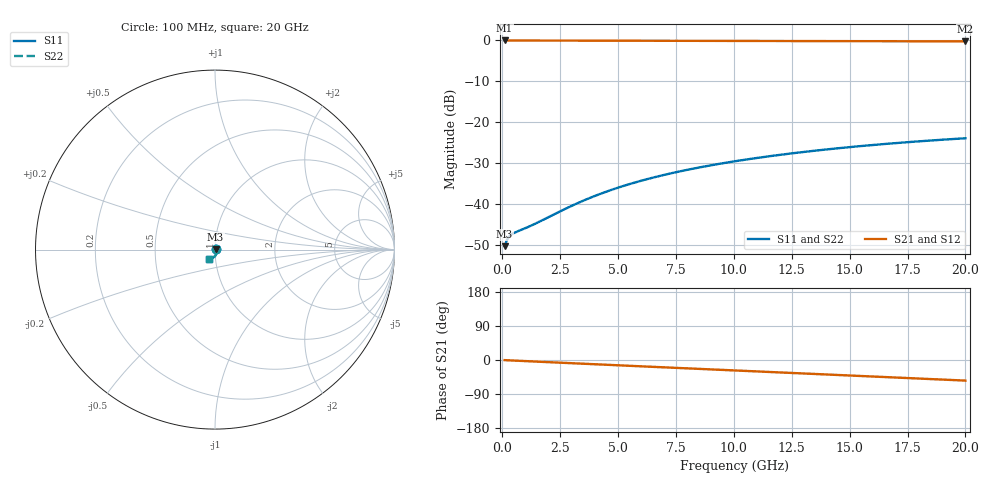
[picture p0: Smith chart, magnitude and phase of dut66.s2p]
! Touchstone file exported from HFSS 2026.1.0
!  File:  C:/ffzhzh/LocalFiles/Ansys_Project_Files/temp_train_BSMRDL_66_1782882780_8056.aedt
!  Generated:  01:14:26 PM Jul  1, 2026
!  Design:  BSMRDL
!  Project:  temp_train_BSMRDL_66_1782882780_8056
! Variables:
!  h_bsmrdl = 5.69um
!  h_ox = 20um
!  h_rdl = 5um
!  h_sub = 80um
!  h_tmrdl = 5um
!  h_tsv = 80um
!  h_via = 3um
!  l_bsmrdl = 984.99um
!  l_sub = 1384.99um
!  l_tmrdl = 200um
!  m_sub = 200um
!  pitch = 28.84um
!  r_tsv = 6um
!  s_tmrdl = 10um
!  w_bsmrdl = 24.05um
!  w_sub = 500um
!  w_tmrdl = 12um
!  x_tsv_center1 = 206um
!  x_tsv_center2 = 1215.04um
!  x_tsv_center3 = 1427.04um
!  x_tsv_center4 = 2436.08um
!  x_tsv_center5 = 2648.08um
!  x_tsv_center6 = 3657.12um
# GHz S MA R 50.000000
! Terminal data exported
! Port[1] = BSM_RDL1_1_T1
! Port[2] = BSM_RDL1_1_T2
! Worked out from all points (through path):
!   200 points, 100 MHz to 20 GHz, reference 50 ohm
!   highest |S21| = -0.03 dB at 100 MHz (marker M1); lowest = -0.2 dB at 20 GHz (marker M2)
!   group delay of S21, straight-line fit = 7.51 ps
!   lowest |S11| = -50.3 dB at 100 MHz (marker M3), VSWR 1.01, Z = 50.3 + j0.0653 ohm
!   |S11| at or under -10 dB: start of sweep to end of sweep
!   |S22| runs from -50.3 to -23.9 dB; largest |S21 - S12| = 8e-14
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0.1  0.003045 12.3  0.997 -0.3  0.997 -0.3  0.003045 12.3
! Gamma 0 0 0 0
! Port Impedance 50 0 50 0
0.2  0.003634 12.3  0.9965 -0.6  0.9965 -0.6  0.003634 12.3
0.3  0.004009 8.9  0.996 -0.9  0.996 -0.9  0.004009 8.9
0.4  0.004241 5.5  0.9958 -1.2  0.9958 -1.2  0.004241 5.5
0.5  0.004406 2.5  0.9956 -1.5  0.9956 -1.5  0.004406 2.5
1.3  0.005519 -13.3  0.9945 -3.7  0.9945 -3.7  0.005519 -13.3
2.7  0.008652 -33.0  0.9921 -7.7  0.9921 -7.7  0.008652 -33.0
3.5  0.01097 -42.3  0.9907 -9.9  0.9907 -9.9  0.01097 -42.3
4.2  0.01317 -49.4  0.9894 -11.8  0.9894 -11.8  0.01317 -49.3
5  0.01582 -56.5  0.9881 -14.0  0.9881 -14.0  0.01581 -56.4
5.9  0.01888 -63.4  0.9868 -16.4  0.9868 -16.4  0.01887 -63.4
6.8  0.02199 -69.5  0.9856 -18.9  0.9856 -18.9  0.02199 -69.4
7.6  0.02477 -74.3  0.9846 -21.0  0.9846 -21.0  0.02477 -74.3
8.4  0.02756 -78.7  0.9836 -23.2  0.9836 -23.2  0.02755 -78.7
9.2  0.03033 -82.8  0.9827 -25.4  0.9827 -25.4  0.03032 -82.8
10.1  0.03343 -87.1  0.9817 -27.8  0.9817 -27.8  0.03342 -87.1
11.7  0.03886 -94.1  0.98 -32.1  0.98 -32.1  0.03884 -94.0
13.4  0.04445 -100.9  0.9782 -36.7  0.9782 -36.7  0.04443 -100.8
15  0.04951 -106.9  0.9766 -41.0  0.9766 -41.0  0.04948 -106.8
16.7  0.0546 -112.9  0.9749 -45.5  0.9749 -45.5  0.05457 -112.8
18.3  0.0591 -118.3  0.9734 -49.8  0.9734 -49.8  0.05906 -118.2
20  0.06353 -123.9  0.9717 -54.3  0.9717 -54.3  0.06348 -123.8
